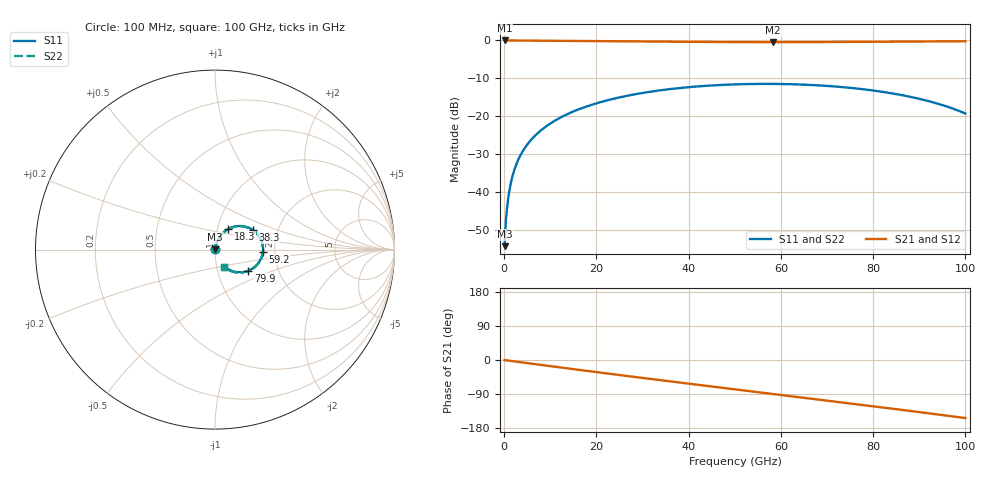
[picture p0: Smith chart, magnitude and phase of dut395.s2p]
! Touchstone file exported from HFSS 2026.1.0
!  File:  C:/ffzhzh/LocalFiles/Ansys_Project_Files/temp_train_RDL_395_1783503957_31944.aedt
!  Generated:  05:47:21 PM Jul  8, 2026
!  Design:  RDL
!  Project:  temp_train_RDL_395_1783503957_31944
! Variables:
!  h_bsmrdl = 2um
!  h_ox = 20um
!  h_rdl = 5um
!  h_sub = 80um
!  h_tmrdl = 4.9um
!  h_tsv = 80um
!  h_via = 3um
!  l_bsmrdl = 300um
!  l_sub = 928.83um
!  l_tmrdl = 528.83um
!  m_sub = 200um
!  pitch = 42.06um
!  r_tsv = 6um
!  s_tmrdl = 10um
!  w_bsmrdl = 18um
!  w_sub = 500um
!  w_tmrdl = 29.3um
!  x_tsv_center1 = 543.48um
!  x_tsv_center2 = 861.48um
!  x_tsv_center3 = 1419.61um
!  x_tsv_center4 = 1737.61um
!  x_tsv_center5 = 2295.74um
!  x_tsv_center6 = 2613.74um
# GHz S MA R 50.000000
! Terminal data exported
! Port[1] = TM_RDL1_1_T1
! Port[2] = TM_RDL1_1_T2
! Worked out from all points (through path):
!   1000 points, 100 MHz to 100 GHz, reference 50 ohm
!   highest |S21| = -0.01 dB at 100 MHz (marker M1); lowest = -0.5 dB at 58.3 GHz (marker M2)
!   group delay of S21, straight-line fit = 4.2 ps
!   lowest |S11| = -54.2 dB at 100 MHz (marker M3), VSWR 1.00, Z = 50.2 + j0.116 ohm
!   |S11| at or under -10 dB: start of sweep to end of sweep
!   |S22| runs from -54.2 to -11.4 dB; largest |S21 - S12| = 1.8e-14
!   S11 on the Smith chart (normalised r, x): 100 MHz: 1.00, +0.00; 18.3 GHz: 1.13, +0.27; 38.3 GHz: 1.48, +0.35; 59.2 GHz: 1.73, -0.04; 79.9 GHz: 1.40, -0.35; 100 GHz: 1.09, -0.21
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0.1  0.001949 36.5  0.9984 -0.2  0.9984 -0.2  0.001949 36.5
! Gamma 0 0 0 0
! Port Impedance 50 0 50 0
0.9  0.008481 73.3  0.9977 -1.5  0.9977 -1.5  0.008481 73.2
1.5  0.01364 76.9  0.9974 -2.5  0.9974 -2.5  0.01364 76.9
2  0.01793 77.7  0.997 -3.3  0.997 -3.3  0.01793 77.7
2.6  0.023 77.8  0.9966 -4.3  0.9966 -4.3  0.023 77.7
4.1  0.03531 76.4  0.9952 -6.8  0.9952 -6.8  0.03531 76.4
6.2  0.05179 73.9  0.9932 -10.1  0.9932 -10.1  0.05179 73.8
9  0.07293 70.2  0.9906 -14.6  0.9906 -14.6  0.07294 70.1
12.5  0.0984 65.3  0.9872 -20.2  0.9872 -20.2  0.09842 65.2
16.8  0.1279 59.1  0.9826 -26.9  0.9826 -26.9  0.1279 58.9
18.3  0.1376 56.9  0.9809 -29.3  0.9809 -29.3  0.1376 56.8
25.2  0.1787 46.8  0.973 -40.0  0.973 -40.0  0.1788 46.6
33.4  0.2183 34.8  0.9639 -52.5  0.9639 -52.5  0.2184 34.5
38.3  0.2367 27.7  0.9591 -59.9  0.9591 -59.9  0.2368 27.3
50.1  0.2635 10.7  0.9512 -77.5  0.9512 -77.5  0.2637 10.2
58.3  0.2674 -1.1  0.9495 -89.6  0.9495 -89.6  0.2675 -1.7
59.2  0.267 -2.4  0.9495 -90.9  0.9495 -90.9  0.2672 -3.0
66.7  0.2586 -13.2  0.9512 -102.1  0.9512 -102.1  0.2587 -13.9
79.9  0.2193 -32.3  0.9594 -121.9  0.9594 -121.9  0.2194 -33.2
83.4  0.2039 -37.4  0.9623 -127.3  0.9623 -127.3  0.2041 -38.4
92.3  0.1569 -50.3  0.9696 -141.0  0.9696 -141.0  0.157 -51.5
100  0.109 -61.0  0.9744 -153.2  0.9744 -153.2  0.1091 -62.5
